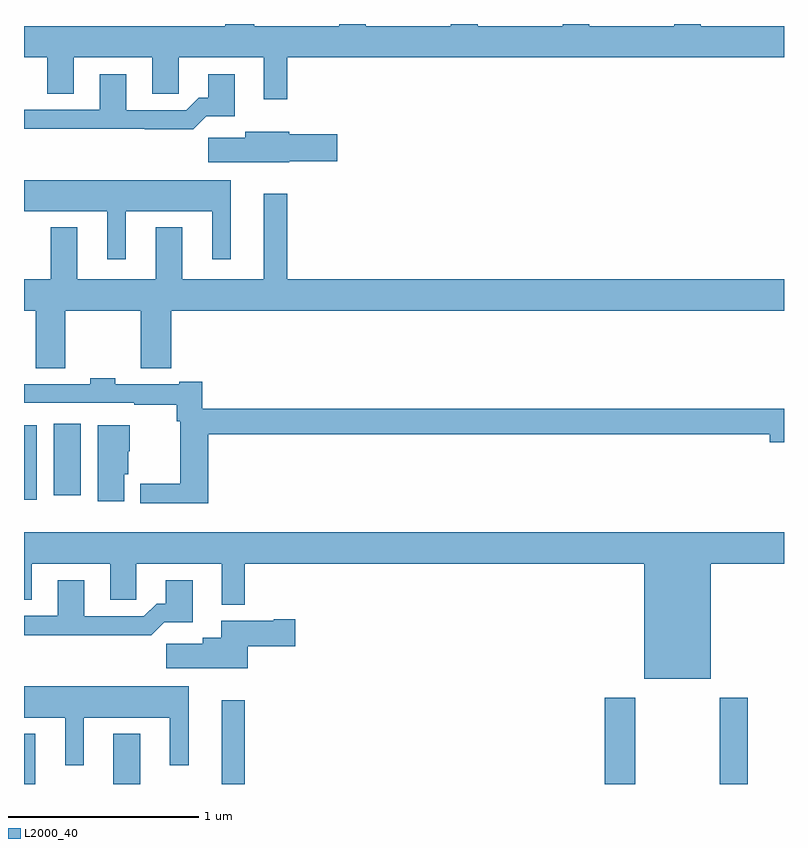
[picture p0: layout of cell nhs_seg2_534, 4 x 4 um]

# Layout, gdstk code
import gdstk
lib = gdstk.Library(unit=1e-6, precision=1e-09)
def R(c, l, rs):  # rectangles x0, y0, x1, y1
    for r in rs: c.add(gdstk.rectangle(r[:2], r[2:], *l))
def P(c, l, *ps):  # polygons
    for p in ps: c.add(gdstk.Polygon(p, *l))
L2000_40 = (2000, 40)

nhs_seg2_534 = lib.new_cell('nhs_seg2_534')
R(nhs_seg2_534, L2000_40, [(137,655.8,137.059,656.065), (137.471,655.8,137.611,656.065), (138.041,655.8,138.163,656.242), (140.057,655.8,140.217,656.254), (140.662,655.8,140.809,656.254), (137,657.296,137.068,657.688), (137.156,657.321,137.299,657.697)])
P(nhs_seg2_534, L2000_40, [(138.385,659.624),(141,659.624),(141,659.788),(140.563,659.788),(140.563,659.8),(140.423,659.8),(140.423,659.788),(139.975,659.788),(139.975,659.8),(139.835,659.8),(139.835,659.788),(139.387,659.788),(139.387,659.8),(139.247,659.8),(139.247,659.788),(138.799,659.788),(138.799,659.8),(138.659,659.8),(138.659,659.788),(138.211,659.788),(138.211,659.8),(138.059,659.8),(138.059,659.788),(137,659.788),(137,659.624),(137.123,659.624),(137.123,659.434),(137.263,659.434),(137.263,659.624),(137.675,659.624),(137.675,659.434),(137.814,659.434),(137.814,659.624),(138.263,659.624),(138.263,659.403),(138.385,659.403)],
  [(137.96,659.315),(138.109,659.315),(138.109,659.536),(137.969,659.536),(137.969,659.413),(137.92,659.413),(137.853,659.346),(137.539,659.346),(137.539,659.536),(137.399,659.536),(137.399,659.349),(137,659.349),(137,659.248),(137.635,659.248),(137.635,659.246),(137.891,659.246)],
  [(138.396,659.078),(138.649,659.078),(138.649,659.22),(138.396,659.22),(138.396,659.233),(138.164,659.233),(138.164,659.201),(137.97,659.201),(137.97,659.072),(138.396,659.072)],
  [(137.536,658.814),(137.99,658.814),(137.99,658.563),(138.088,658.563),(138.088,658.978),(137,658.978),(137,658.814),(137.438,658.814),(137.438,658.563),(137.536,658.563)],
  [(137.216,658.292),(137.614,658.292),(137.614,657.988),(137.774,657.988),(137.774,658.292),(141,658.292),(141,658.456),(138.385,658.456),(138.385,658.906),(138.263,658.906),(138.263,658.456),(137.833,658.456),(137.833,658.729),(137.693,658.729),(137.693,658.456),(137.281,658.456),(137.281,658.729),(137.141,658.729),(137.141,658.456),(137,658.456),(137,658.292),(137.062,658.292),(137.062,657.988),(137.216,657.988)],
  [(137.969,657.64),(140.924,657.64),(140.924,657.598),(141,657.598),(141,657.776),(137.939,657.776),(137.939,657.916),(137.816,657.916),(137.816,657.903),(137.481,657.903),(137.481,657.936),(137.349,657.936),(137.349,657.903),(137,657.903),(137,657.807),(137.581,657.807),(137.581,657.795),(137.803,657.795),(137.803,657.71),(137.822,657.71),(137.822,657.38),(137.613,657.38),(137.613,657.278),(137.969,657.278)],
  [(137.527,657.429),(137.548,657.429),(137.548,657.552),(137.557,657.552),(137.557,657.688),(137.387,657.688),(137.387,657.288),(137.527,657.288)],
  [(140.614,656.96),(141,656.96),(141,657.124),(137,657.124),(137,656.77),(137.041,656.77),(137.041,656.96),(137.453,656.96),(137.453,656.77),(137.592,656.77),(137.592,656.96),(138.041,656.96),(138.041,656.744),(138.163,656.744),(138.163,656.96),(140.264,656.96),(140.264,656.354),(140.614,656.354)],
  [(137.738,656.651),(137.887,656.651),(137.887,656.872),(137.747,656.872),(137.747,656.749),(137.698,656.749),(137.631,656.682),(137.317,656.682),(137.317,656.872),(137.177,656.872),(137.177,656.685),(137,656.685),(137,656.584),(137.413,656.584),(137.413,656.582),(137.669,656.582)],
  [(138.178,656.525),(138.427,656.525),(138.427,656.667),(138.314,656.667),(138.314,656.659),(138.038,656.659),(138.038,656.569),(137.942,656.569),(137.942,656.537),(137.748,656.537),(137.748,656.408),(138.178,656.408)],
  [(137.314,656.15),(137.768,656.15),(137.768,655.899),(137.866,655.899),(137.866,656.314),(137,656.314),(137,656.15),(137.216,656.15),(137.216,655.899),(137.314,655.899)])

lib.write_gds('nhs_seg2_534.gds')
